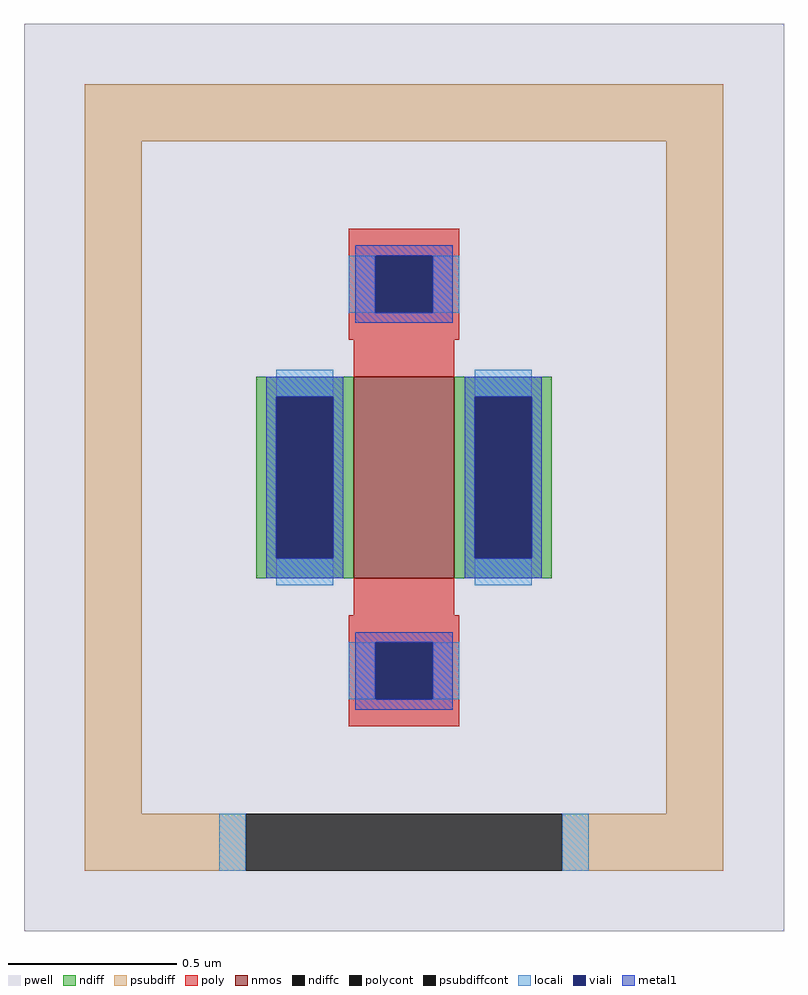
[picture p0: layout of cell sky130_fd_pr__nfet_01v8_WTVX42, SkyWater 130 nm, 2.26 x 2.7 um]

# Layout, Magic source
magic
tech sky130A
magscale 1 2
<< pwell >>
rect -226 -270 226 270
<< nmos >>
rect -30 -60 30 60
<< ndiff >>
rect -88 48 -30 60
rect -88 -48 -76 48
rect -42 -48 -30 48
rect -88 -60 -30 -48
rect 30 48 88 60
rect 30 -48 42 48
rect 76 -48 88 48
rect 30 -60 88 -48
<< ndiffc >>
rect -76 -48 -42 48
rect 42 -48 76 48
<< psubdiff >>
rect -190 200 190 234
rect -190 -200 -156 200
rect 156 -200 190 200
rect -190 -234 -94 -200
rect 94 -234 190 -200
<< psubdiffcont >>
rect -94 -234 94 -200
<< poly >>
rect -33 132 33 148
rect -33 98 -17 132
rect 17 98 33 132
rect -33 82 33 98
rect -30 60 30 82
rect -30 -82 30 -60
rect -33 -98 33 -82
rect -33 -132 -17 -98
rect 17 -132 33 -98
rect -33 -148 33 -132
<< polycont >>
rect -17 98 17 132
rect -17 -132 17 -98
<< locali >>
rect -33 98 -17 132
rect 17 98 33 132
rect -76 48 -42 64
rect -76 -64 -42 -48
rect 42 48 76 64
rect 42 -64 76 -48
rect -33 -132 -17 -98
rect 17 -132 33 -98
rect -110 -234 -94 -200
rect 94 -234 110 -200
<< viali >>
rect -17 98 17 132
rect -76 -48 -42 48
rect 42 -48 76 48
rect -17 -132 17 -98
<< metal1 >>
rect -29 132 29 138
rect -29 98 -17 132
rect 17 98 29 132
rect -29 92 29 98
rect -82 48 -36 60
rect -82 -48 -76 48
rect -42 -48 -36 48
rect -82 -60 -36 -48
rect 36 48 82 60
rect 36 -48 42 48
rect 76 -48 82 48
rect 36 -60 82 -48
rect -29 -98 29 -92
rect -29 -132 -17 -98
rect 17 -132 29 -98
rect -29 -138 29 -132
<< properties >>
string FIXED_BBOX -173 -217 173 217
string gencell sky130_fd_pr__nfet_01v8
string library sky130
string parameters w 0.600 l 0.300 m 1 nf 1 diffcov 100 polycov 100 guard 1 glc 0 grc 0 gtc 0 gbc 1 tbcov 100 rlcov 100 topc 1 botc 1 poverlap 0 doverlap 1 lmin 0.15 wmin 0.42 compatible {sky130_fd_pr__nfet_01v8 sky130_fd_pr__nfet_01v8_lvt  sky130_fd_bs_flash__special_sonosfet_star  sky130_fd_pr__nfet_g5v0d10v5 sky130_fd_pr__nfet_05v0_nvt  sky130_fd_pr__nfet_03v3_nvt} full_metal 0 viasrc 100 viadrn 100 viagate 100 viagb 0 viagr 0 viagl 0 viagt 0
<< end >>
